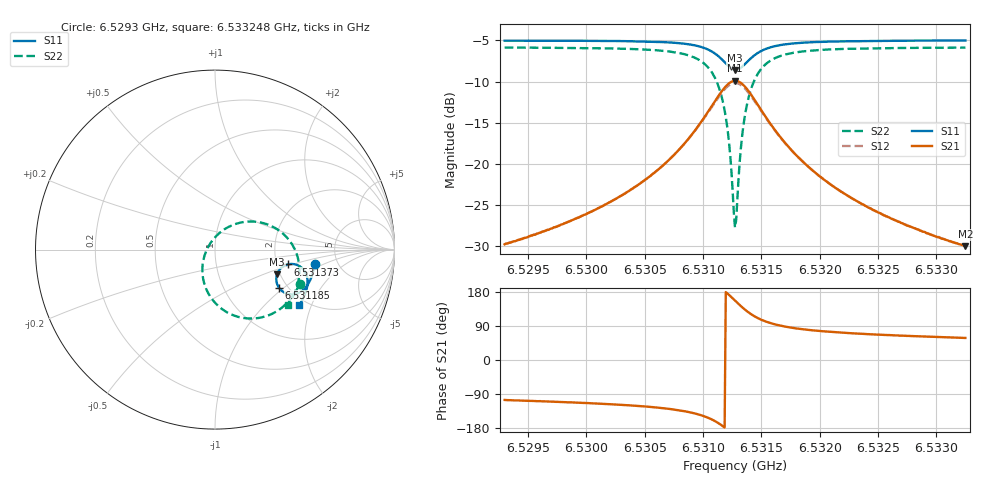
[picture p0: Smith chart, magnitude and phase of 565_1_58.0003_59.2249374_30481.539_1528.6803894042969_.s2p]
#  HZ  S  RI  R  50.00
! Rohde & Schwarz Vector Network Analyzer
! Rohde-Schwarz,ZNB20-2Port,1311601062101988,3.16
! Created: UTC 3/21/2024, 1:15:40 AM
! freq[Hz]  re:S11  im:S11  re:S21  im:S21  re:S12  im:S12  re:S22  im:S22
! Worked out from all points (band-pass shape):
!   401 points, 6.5293 GHz to 6.533248 GHz, reference 50 ohm
!   highest |S21| = -9.91 dB at 6.531274 GHz (marker M1); lowest = -30.0 dB at 6.533248 GHz (marker M2)
!   |S21| within 3 dB of the highest: 6.531078 GHz to 6.531473 GHz (394.7 kHz wide, 0.00604 % of centre)
!   lowest |S11| = -8.6 dB at 6.531274 GHz (marker M3), VSWR 2.19, Z = 96.2 - j31 ohm
!   |S11| at or under -10 dB: nowhere
!   |S22| runs from -27.8 to -5.9 dB; largest |S21 - S12| = 0.013
!   S11 on the Smith chart (normalised r, x): 6.5293 GHz: 3.35, -0.78; 6.531185 GHz: 1.80, -0.92; 6.531373 GHz: 2.30, -0.46; 6.533248 GHz: 1.82, -1.64
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6.5293002e9  0.555 -0.08  -0.0086 -0.0311  -0.0094 -0.031  0.4722 -0.1895
6.5299615e9  0.5429 -0.1356  -0.0189 -0.0442  -0.0199 -0.0438  0.4394 -0.2509
6.5303168e9  0.531 -0.1688  -0.0312 -0.057  -0.0326 -0.0562  0.4065 -0.2922
6.5306228e9  0.5124 -0.2021  -0.0546 -0.0752  -0.0567 -0.0736  0.3536 -0.3375
6.5308498e9  0.4839 -0.2311  -0.0962 -0.0942  -0.099 -0.0907  0.2696 -0.3752
6.5310176e9  0.4383 -0.249  -0.1672 -0.0991  -0.1691 -0.0923  0.1401 -0.3774
6.5311163e9  0.392 -0.2419  -0.2385 -0.0702  -0.2371 -0.0602  0.0208 -0.3165
6.5311854e9  0.3563 -0.2122  -0.2903 -0.00823  -0.2836 0.00194  -0.0551 -0.2037
6.531215e9  0.3456 -0.1908  -0.3035 0.0322  -0.2943 0.0409  -0.0698 -0.1347
6.5312643e9  0.3431 -0.1474  -0.2994 0.1098  -0.2876 0.114  -0.0492 -0.0085
6.5312742e9  0.3454 -0.1386  -0.294 0.1251  -0.282 0.1283  -0.0377 0.0157
6.5312841e9  0.3487 -0.1302  -0.2869 0.1398  -0.2752 0.142  -0.0238 0.0385
6.5312939e9  0.3527 -0.1221  -0.2784 0.1537  -0.2669 0.1548  -0.00776 0.0596
6.5313334e9  0.3759 -0.0962  -0.2343 0.198  -0.2247 0.1958  0.0717 0.1245
6.5313729e9  0.4045 -0.0826  -0.1829 0.221  -0.1759 0.2174  0.1603 0.1537
6.531442e9  0.4498 -0.0831  -0.1041 0.2213  -0.1006 0.2178  0.2916 0.1405
6.5315407e9  0.4888 -0.1069  -0.0372 0.1874  -0.0357 0.1853  0.3994 0.0686
6.5316887e9  0.5108 -0.1444  0.0023 0.1376  0.00356 0.1369  0.4573 -0.031
6.5319355e9  0.5156 -0.1884  0.0183 0.0895  0.0195 0.0892  0.4704 -0.1311
6.5322513e9  0.5083 -0.2266  0.0204 0.0596  0.0215 0.0594  0.4585 -0.2005
6.5325968e9  0.4965 -0.2584  0.0193 0.0429  0.0201 0.0424  0.4404 -0.2477
6.5332482e9  0.4706 -0.3077  0.0166 0.0267  0.0171 0.0266  0.4057 -0.3064
